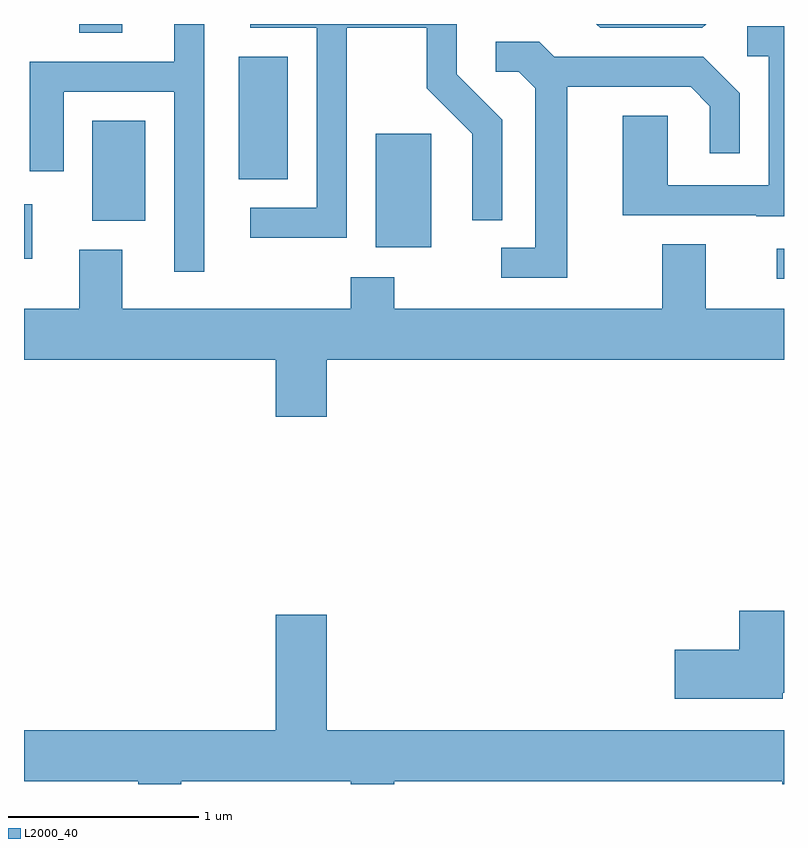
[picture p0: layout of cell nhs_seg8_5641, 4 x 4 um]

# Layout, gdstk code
import gdstk
lib = gdstk.Library(unit=1e-6, precision=1e-09)
def R(c, l, rs):  # rectangles x0, y0, x1, y1
    for r in rs: c.add(gdstk.rectangle(r[:2], r[2:], *l))
def P(c, l, *ps):  # polygons
    for p in ps: c.add(gdstk.Polygon(p, *l))
L2000_40 = (2000, 40)

nhs_seg8_5641 = lib.new_cell('nhs_seg8_5641')
R(nhs_seg8_5641, L2000_40, [(357.573,1899.001,357.611,1899.159), (353.611,1899.106,353.654,1899.394), (355.461,1899.166,355.754,1899.764), (353.971,1899.306,354.249,1899.834), (354.741,1899.526,354.999,1900.169), (353.901,1900.296,354.129,1900.342)])
P(nhs_seg8_5641, L2000_40, [(357.203,1900.342),(356.623,1900.342),(356.644,1900.321),(357.182,1900.321)],
  [(355.309,1900.321),(355.731,1900.321),(355.731,1900.004),(355.971,1899.764),(355.971,1899.308),(356.129,1899.308),(356.129,1899.837),(355.889,1900.077),(355.889,1900.342),(354.803,1900.342),(354.803,1900.321),(355.151,1900.321),(355.151,1899.374),(354.803,1899.374),(354.803,1899.216),(355.309,1899.216)],
  [(354.559,1900.342),(354.401,1900.342),(354.401,1900.144),(353.641,1900.144),(353.641,1899.566),(353.819,1899.566),(353.819,1899.986),(354.401,1899.986),(354.401,1899.038),(354.559,1899.038)],
  [(357.611,1900.329),(357.418,1900.329),(357.418,1900.171),(357.531,1900.171),(357.531,1899.494),(356.999,1899.494),(356.999,1899.859),(356.761,1899.859),(356.761,1899.336),(357.465,1899.336),(357.465,1899.331),(357.611,1899.331)],
  [(356.469,1900.011),(357.119,1900.011),(357.221,1899.909),(357.221,1899.663),(357.379,1899.663),(357.379,1899.977),(357.187,1900.169),(356.402,1900.169),(356.322,1900.249),(356.093,1900.249),(356.093,1900.091),(356.214,1900.091),(356.301,1900.004),(356.301,1899.164),(356.123,1899.164),(356.123,1899.006),(356.469,1899.006)],
  [(355.204,1898.576),(357.611,1898.576),(357.611,1898.844),(357.199,1898.844),(357.199,1899.184),(356.971,1899.184),(356.971,1898.844),(355.559,1898.844),(355.559,1899.009),(355.331,1899.009),(355.331,1898.844),(354.129,1898.844),(354.129,1899.154),(353.901,1899.154),(353.901,1898.844),(353.611,1898.844),(353.611,1898.576),(354.936,1898.576),(354.936,1898.276),(355.204,1898.276)],
  [(357.604,1896.821),(357.611,1896.821),(357.611,1897.254),(357.376,1897.254),(357.376,1897.049),(357.036,1897.049),(357.036,1896.791),(357.604,1896.791)],
  [(353.611,1896.356),(354.211,1896.356),(354.211,1896.342),(354.439,1896.342),(354.439,1896.356),(355.331,1896.356),(355.331,1896.342),(355.559,1896.342),(355.559,1896.356),(357.601,1896.356),(357.601,1896.342),(357.611,1896.342),(357.611,1896.624),(355.204,1896.624),(355.204,1897.234),(354.936,1897.234),(354.936,1896.624),(353.611,1896.624)])

lib.write_gds('nhs_seg8_5641.gds')
